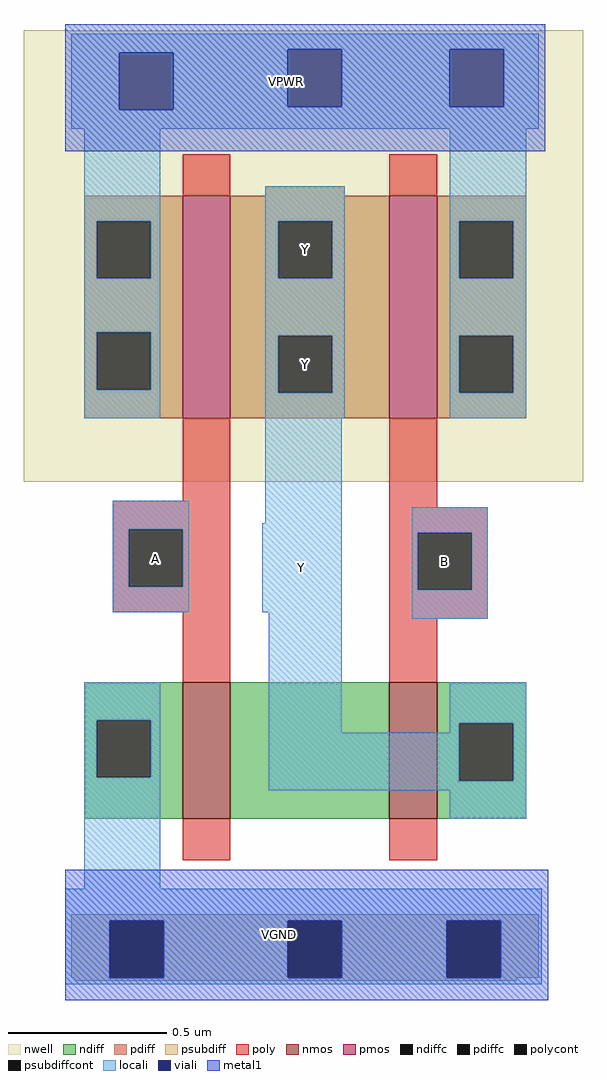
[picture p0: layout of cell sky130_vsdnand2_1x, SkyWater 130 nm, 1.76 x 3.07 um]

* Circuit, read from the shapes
.subckt sky130_vsdnand2_1x A B Y VGND VPWR VPB
XM1 n1 A VGND VGND sky130_fd_pr__nfet_01v8 w=0.43 l=0.15
XM2 Y B n1 VGND sky130_fd_pr__nfet_01v8 w=0.43 l=0.15
XM3 Y A VPWR VPB sky130_fd_pr__pfet_01v8 w=0.7 l=0.15
XM4 VPWR B Y VPB sky130_fd_pr__pfet_01v8 w=0.7 l=0.15
.ends

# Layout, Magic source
magic
tech sky130A
<< nwell >>
rect -13 146 163 288
<< nmos >>
rect 37 40 52 83
rect 102 40 117 83
<< pmos >>
rect 37 166 52 236
rect 102 166 117 236
<< ndiff >>
rect 6 71 37 83
rect 6 53 10 71
rect 27 53 37 71
rect 6 40 37 53
rect 52 40 102 83
rect 117 70 145 83
rect 117 52 124 70
rect 141 52 145 70
rect 117 40 145 52
<< pdiff >>
rect 63 236 88 239
rect 6 228 37 236
rect 6 210 10 228
rect 27 210 37 228
rect 6 193 37 210
rect 6 175 10 193
rect 27 175 37 193
rect 6 166 37 175
rect 52 228 102 236
rect 52 210 67 228
rect 84 210 102 228
rect 52 192 102 210
rect 52 174 67 192
rect 84 174 102 192
rect 52 166 102 174
rect 117 228 145 236
rect 117 210 124 228
rect 141 210 145 228
rect 117 192 145 210
rect 117 174 124 192
rect 141 174 145 192
rect 117 166 145 174
<< ndiffc >>
rect 10 53 27 71
rect 124 52 141 70
<< pdiffc >>
rect 10 210 27 228
rect 10 175 27 193
rect 67 210 84 228
rect 67 174 84 192
rect 124 210 141 228
rect 124 174 141 192
<< psubdiff >>
rect 2 8 149 10
rect 2 -10 14 8
rect 31 -10 70 8
rect 87 -10 120 8
rect 137 -10 149 8
rect 3 -11 142 -10
<< psubdiffcont >>
rect 14 -10 31 8
rect 70 -10 87 8
rect 120 -10 137 8
<< poly >>
rect 37 236 52 249
rect 102 236 117 249
rect 37 140 52 166
rect 15 131 52 140
rect 15 113 20 131
rect 37 113 52 131
rect 15 105 52 113
rect 37 83 52 105
rect 102 138 117 166
rect 102 130 133 138
rect 102 112 111 130
rect 128 112 133 130
rect 102 103 133 112
rect 102 83 117 103
rect 37 27 52 40
rect 102 27 117 40
<< polycont >>
rect 20 113 37 131
rect 111 112 128 130
<< locali >>
rect 2 282 149 287
rect 2 281 70 282
rect 2 263 17 281
rect 34 264 70 281
rect 87 264 121 282
rect 138 264 149 282
rect 34 263 149 264
rect 2 257 149 263
rect 6 228 30 257
rect 6 210 10 228
rect 27 210 30 228
rect 6 193 30 210
rect 6 175 10 193
rect 27 175 30 193
rect 6 166 30 175
rect 63 228 88 239
rect 63 210 67 228
rect 84 210 88 228
rect 63 192 88 210
rect 63 174 67 192
rect 84 174 88 192
rect 63 166 88 174
rect 121 228 145 257
rect 121 210 124 228
rect 141 210 145 228
rect 121 192 145 210
rect 121 174 124 192
rect 141 174 145 192
rect 121 166 145 174
rect 15 131 39 140
rect 63 133 87 166
rect 15 113 20 131
rect 37 113 39 131
rect 15 105 39 113
rect 62 105 87 133
rect 6 71 30 83
rect 6 53 10 71
rect 27 53 30 71
rect 6 18 30 53
rect 64 67 87 105
rect 109 130 133 138
rect 109 112 111 130
rect 128 112 133 130
rect 109 103 133 112
rect 121 70 145 83
rect 121 67 124 70
rect 64 52 124 67
rect 141 52 145 70
rect 64 49 145 52
rect 121 40 145 49
rect 0 8 150 18
rect 0 -10 14 8
rect 31 -10 70 8
rect 87 -10 120 8
rect 137 -10 150 8
rect 0 -12 150 -10
<< viali >>
rect 17 263 34 281
rect 70 264 87 282
rect 121 264 138 282
rect 14 -10 31 8
rect 70 -10 87 8
rect 120 -10 137 8
<< metal1 >>
rect 0 282 151 290
rect 0 281 70 282
rect 0 263 17 281
rect 34 264 70 281
rect 87 264 121 282
rect 138 264 151 282
rect 34 263 151 264
rect 0 250 151 263
rect 0 8 152 24
rect 0 -10 14 8
rect 31 -10 70 8
rect 87 -10 120 8
rect 137 -10 152 8
rect 0 -17 152 -10
<< labels >>
flabel metal1 34 257 105 287 0 FreeSans 120 0 0 0 VPWR
port 4 nsew power bidirectional
flabel nwell 34 257 105 287 0 FreeSans 120 0 0 0 VPB
port 5 nsew power bidirectional
flabel metal1 31 -17 104 24 0 FreeSans 120 0 0 0 VGND
port 3 nsew ground bidirectional
flabel locali s 62 105 87 133 0 FreeSans 120 0 0 0 Y
port 2 nsew signal output
flabel locali s 63 169 88 197 0 FreeSans 120 0 0 0 Y
port 2 nsew signal output
flabel locali s 63 205 88 233 0 FreeSans 120 0 0 0 Y
port 2 nsew signal output
flabel locali 20 113 37 131 0 FreeSans 120 0 0 0 A
port 0 nsew
flabel locali 111 112 128 130 0 FreeSans 120 0 0 0 B
port 1 nsew
<< properties >>
string LEFclass CORE
string LEFsite unithd
string FIXED_BBOX 0 0 151 272
string LEFsymmetry X Y R90
<< end >>
